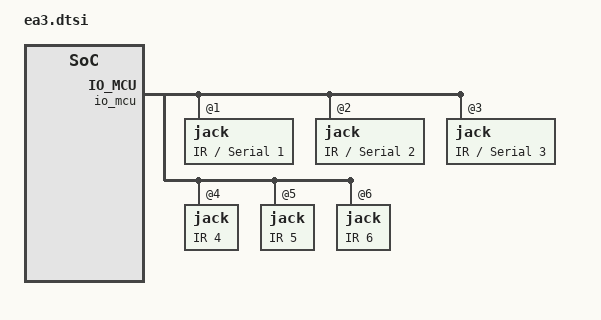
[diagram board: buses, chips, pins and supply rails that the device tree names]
// SPDX-License-Identifier: GPL-2.0
/* Control4 EA-3: what every board revision has. */
#include "ea.dtsi"
#include "ea-switch.dtsi"
#include "ea-audio-dsp.dtsi"

#define EA_LINE_80	"ac_pwr"

/* Six IR jacks; IR 1-3 double as serial ports 1-3. */
/* Pins: docs shared/io-mcu-pinmap (stock TM4C profile block 3). */
&io_mcu {
	jack@1 {
		reg = <1>;
		label = "IR / Serial 1";
		control4,ir-channel = <0>;
		control4,ir-pin = <IOMCU_PORT_B 6>;
		control4,uart = <0>;
		control4,uart-pins = <IOMCU_PORT_E 4>, <IOMCU_PORT_E 5>;
		control4,uart-mux-pins = <IOMCU_PORT_E 2>, <IOMCU_PORT_B 1>;
	};
	jack@2 {
		reg = <2>;
		label = "IR / Serial 2";
		control4,ir-channel = <1>;
		control4,ir-pin = <IOMCU_PORT_F 2>;
		control4,uart = <1>;
		control4,uart-pins = <IOMCU_PORT_E 0>, <IOMCU_PORT_E 1>;
		control4,uart-mux-pins = <IOMCU_PORT_E 3>, <IOMCU_PORT_B 3>;
	};
	jack@3 {
		reg = <3>;
		label = "IR / Serial 3";
		control4,ir-channel = <2>;
		control4,ir-pin = <IOMCU_PORT_B 0>;
		control4,uart = <2>;
		control4,uart-pins = <IOMCU_PORT_C 4>, <IOMCU_PORT_C 5>;
		control4,uart-mux-pins = <IOMCU_PORT_A 7>, <IOMCU_PORT_B 5>;
	};
	jack@4 {
		reg = <4>;
		label = "IR 4";
		control4,ir-channel = <3>;
		control4,ir-pin = <IOMCU_PORT_B 2>;
	};
	jack@5 {
		reg = <5>;
		label = "IR 5";
		control4,ir-channel = <4>;
		control4,ir-pin = <IOMCU_PORT_D 0>;
	};
	jack@6 {
		reg = <6>;
		label = "IR 6";
		control4,ir-channel = <5>;
		control4,ir-pin = <IOMCU_PORT_D 2>;
	};
	ir-blaster {
		control4,ir-channel = <6>;
		control4,ir-pin = <IOMCU_PORT_D 4>;
	};

	relays {
		#address-cells = <1>;
		#size-cells = <0>;

		relay@0 {
			reg = <0>;
			label = "Relay 1";
			control4,pin = <IOMCU_PORT_A 2>;
		};
	};

	contacts {
		#address-cells = <1>;
		#size-cells = <0>;

		contact@0 {
			reg = <0>;
			label = "Contact 1";
			control4,pin = <IOMCU_PORT_F 0>;
			control4,active-low;
		};
	};
};

/* LAN 1 and LAN 2 on the rear panel. */
&switch_ports {
	port@1 {
		reg = <1>;
		label = "lan1";
	};
	port@2 {
		reg = <2>;
		label = "lan2";
	};
};
